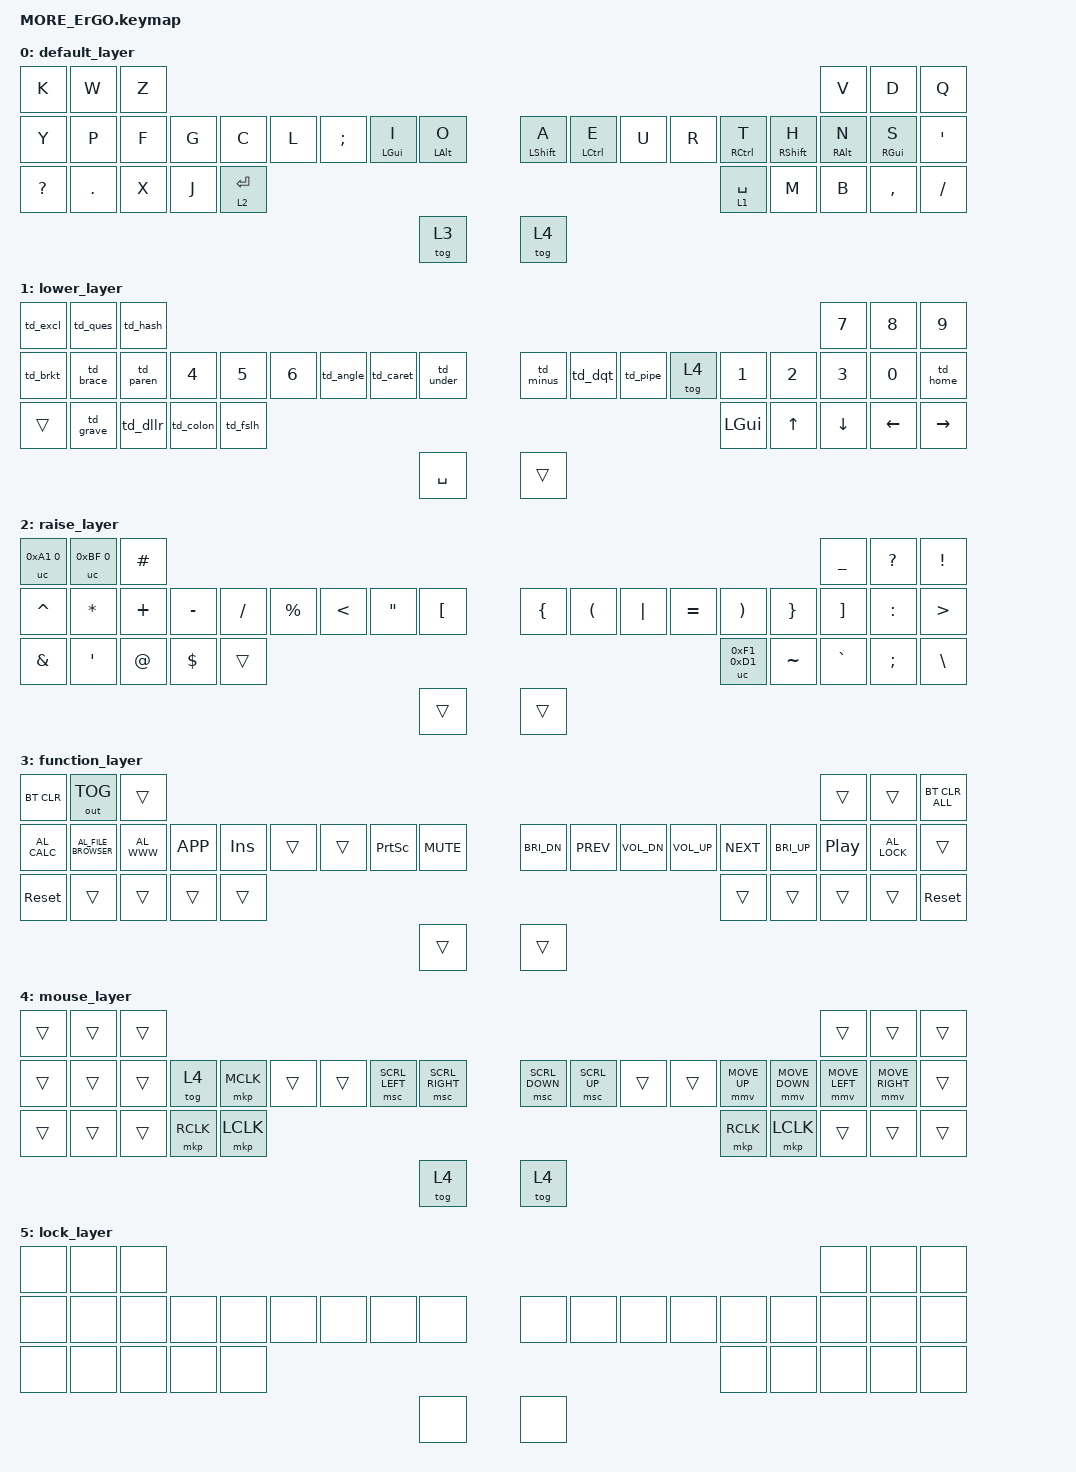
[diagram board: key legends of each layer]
/*
 * Copyright (c) 2020 The ZMK Contributors
 * SPDX-License-Identifier: MIT
 */
#define ZMK_POINTING_DEFAULT_MOVE_VAL 900   // velocidad máxima del cursor (default ZMK: 600)
#define ZMK_POINTING_DEFAULT_SCRL_VAL 160   // con smooth scrolling: 16 unidades = 1 clic de rueda por segundo (160 ≈ 10 clics/s)
#define ZMK_UNICODE_TAP_MS 300
#define LOCK_LAYER 5

#include <behaviors.dtsi>
#include <dt-bindings/zmk/keys.h>
#include <dt-bindings/zmk/bt.h>
#include <dt-bindings/zmk/outputs.h>
#include <dt-bindings/zmk/pointing.h>
#include <behaviors/unicode.dtsi>

&uc {
  default-mode = <UC_MODE_LINUX>;  // Default to Linux input system
  minimum-length = <0>;            // Set to desired minimum input length
  linux-key = <LC(LS(U))>;         // Overwrite Linux compose key
  win-compose-key = <RALT>;        // Overwrite WinCompose compose key
};

// Aceleración: arranca lento y llega a la velocidad máxima en 600 ms
&mmv {
    time-to-max-speed-ms = <600>;
    acceleration-exponent = <1>;
};

&msc {
    time-to-max-speed-ms = <300>;   // llega antes a su velocidad máxima
    acceleration-exponent = <1>;    // arranca suave y acelera de forma lineal
};

/ {
    
    combos {
        compatible = "zmk,combos";
        combo_backs   { timeout-ms = <40>; require-prior-idle-ms = <150>; key-positions = <19 21>; bindings = <&kp BSPC>; };
        combo_esc     { timeout-ms = <40>; require-prior-idle-ms = <150>; key-positions = <14 16>; bindings = <&kp ESC>; };
        combo_capslock { timeout-ms = <40>; require-prior-idle-ms = <150>; key-positions = <13 14>; bindings = <&kp CAPS>; };
        combo_tab     { timeout-ms = <40>; require-prior-idle-ms = <150>; key-positions = <15 16>; bindings = <&kp TAB>; };
        combo_caps_w  { timeout-ms = <40>; require-prior-idle-ms = <150>; key-positions = <12 13>; bindings = <&caps_word>; };
        combo_lclick  { timeout-ms = <40>; require-prior-idle-ms = <150>; key-positions = <16 28>; bindings = <&mkp LCLK>;};
        combo_rclick  { timeout-ms = <40>; require-prior-idle-ms = <150>; key-positions = <19 29>; bindings = <&mkp RCLK>;};

        // ENTER + tecla-número (misma posición física que usan en lower_layer) = saltar directo a ese perfil bluetooth
        combo_bt1 { timeout-ms = <40>; require-prior-idle-ms = <150>; key-positions = <28 19>; bindings = <&bt BT_SEL 0>; };
        combo_bt2 { timeout-ms = <40>; require-prior-idle-ms = <150>; key-positions = <28 20>; bindings = <&bt BT_SEL 1>; };
        combo_bt3 { timeout-ms = <40>; require-prior-idle-ms = <150>; key-positions = <28 21>; bindings = <&bt BT_SEL 2>; };
        combo_bt4 { timeout-ms = <40>; require-prior-idle-ms = <150>; key-positions = <28 9>;  bindings = <&bt BT_SEL 3>; };
        combo_bt5 { timeout-ms = <40>; require-prior-idle-ms = <150>; key-positions = <28 10>; bindings = <&bt BT_SEL 4>; };

        combo_del      { timeout-ms = <40>; require-prior-idle-ms = <150>; key-positions = <29 21>; bindings = <&kp DEL>; };
        combo_enter_r  { timeout-ms = <40>; require-prior-idle-ms = <150>; key-positions = <21 22>; bindings = <&kp RET>; };

        // Ratón por combo: mantener presionado = scroll/movimiento continuo. Mano izquierda baja, mano derecha sube.
        // timeout 60 ms: más margen para presionar las dos teclas "a la vez"; idle 100 ms: se puede usar justo después de escribir.
        combo_scrl_down  { timeout-ms = <60>; require-prior-idle-ms = <100>; key-positions = <15 28>; bindings = <&msc SCRL_DOWN>; };
        combo_scrl_up    { timeout-ms = <60>; require-prior-idle-ms = <100>; key-positions = <20 29>; bindings = <&msc SCRL_UP>; };
        combo_scrl_left  { timeout-ms = <60>; require-prior-idle-ms = <100>; key-positions = <13 28>; bindings = <&msc SCRL_LEFT>; };
        combo_scrl_right { timeout-ms = <60>; require-prior-idle-ms = <100>; key-positions = <29 22>; bindings = <&msc SCRL_RIGHT>; };
        combo_mv_down    { timeout-ms = <60>; require-prior-idle-ms = <100>; key-positions = <28 7>;  bindings = <&mmv MOVE_DOWN>; };
        combo_mv_left    { timeout-ms = <60>; require-prior-idle-ms = <100>; key-positions = <28 6>;  bindings = <&mmv MOVE_LEFT>; };
        combo_mv_up      { timeout-ms = <60>; require-prior-idle-ms = <100>; key-positions = <29 10>; bindings = <&mmv MOVE_UP>; };
        combo_mv_right   { timeout-ms = <60>; require-prior-idle-ms = <100>; key-positions = <29 11>; bindings = <&mmv MOVE_RIGHT>; };

        combo_lock   { timeout-ms = <40>; require-prior-idle-ms = <150>; key-positions = <1 16 28>; bindings = <&tog LOCK_LAYER>; };
        combo_lock_lt   { timeout-ms = <40>; require-prior-idle-ms = <150>; key-positions = <4 19 29>; bindings = <&tog LOCK_LAYER>; };

        combo_bootloader_left {
            timeout-ms = <50>;
            key-positions = <12 24 8>;
            bindings = <&bootloader>;
            require-prior-idle-ms = <200>;
        };
        combo_bootloader_right {
            timeout-ms = <50>;
            key-positions = <23 33 9>;
            bindings = <&bootloader>;
            require-prior-idle-ms = <200>;
        };

        // Apagar (soft off): P+E+J en la izquierda, o su espejo C+T+M en la derecha.
        // No incluyen ENTER ni SPACE (las teclas que encienden) ni ningún otro combo.
        combo_off_left  { timeout-ms = <50>; require-prior-idle-ms = <250>; key-positions = <7 16 27>;  bindings = <&soft_off>; };
        combo_off_right { timeout-ms = <50>; require-prior-idle-ms = <250>; key-positions = <10 19 30>; bindings = <&soft_off>; };
    };

    behaviors {
        hml: home_row_mod_left {
            compatible = "zmk,behavior-hold-tap";
            #binding-cells = <2>;
            flavor = "balanced";
            require-prior-idle-ms = <150>;
            tapping-term-ms = <280>;
            quick-tap-ms = <175>;
            bindings = <&kp>, <&kp>;
            hold-trigger-key-positions = < 3 4 5 9 10 11 18 19 20 21 22 23 29 30 31 >;
            hold-trigger-on-release;
        };
        hmr: home_row_mod_right {
            compatible = "zmk,behavior-hold-tap";
            #binding-cells = <2>;
            flavor = "balanced";
            require-prior-idle-ms = <150>;
            tapping-term-ms = <280>;
            quick-tap-ms = <175>;
            bindings = <&kp>, <&kp>;
            hold-trigger-key-positions = < 0 1 2 6 7 8 12 13 14 15 16 17 24 25 26 27 28 >;
            hold-trigger-on-release;
        };

        // Pulgar izquierdo: hold=raise(2), tap=Space
        lth: layer_tap {
            compatible = "zmk,behavior-hold-tap";
            #binding-cells = <2>;
            flavor = "balanced";
            tapping-term-ms = <350>;
            quick-tap-ms = <175>;
            bindings = <&mo>, <&kp>;
        };

        // Un tap = abre y auto-cierra (cursor queda en medio). Doble tap = solo el símbolo de cierre (lado derecho del raise_layer).
        td_paren: tap_dance_paren {
            compatible = "zmk,behavior-tap-dance";
            #binding-cells = <0>;
            tapping-term-ms = <250>;
            bindings = <&mo_paren_open>, <&kp RPAR>;
        };

        td_brkt: tap_dance_brkt {
            compatible = "zmk,behavior-tap-dance";
            #binding-cells = <0>;
            tapping-term-ms = <250>;
            bindings = <&mo_brkt_open>, <&kp RBKT>;
        };

        td_brace: tap_dance_brace {
            compatible = "zmk,behavior-tap-dance";
            #binding-cells = <0>;
            tapping-term-ms = <250>;
            bindings = <&mo_brace_open>, <&kp RBRC>;
        };

        td_angle: tap_dance_angle {
            compatible = "zmk,behavior-tap-dance";
            #binding-cells = <0>;
            tapping-term-ms = <250>;
            bindings = <&mo_angle_open>, <&kp GT>;
        };

        td_excl: tap_dance_excl {
            compatible = "zmk,behavior-tap-dance";
            #binding-cells = <0>;
            tapping-term-ms = <250>;
            bindings = <&mo_excl_open>, <&kp EXCL>;
        };

        td_ques: tap_dance_ques {
            compatible = "zmk,behavior-tap-dance";
            #binding-cells = <0>;
            tapping-term-ms = <250>;
            bindings = <&mo_ques_open>, <&kp QMARK>;
        };

        // Sin opuesto real: un tap = símbolo izquierdo tal cual. Doble tap = símbolo espejado del lado derecho del raise_layer.
        td_hash: tap_dance_hash {
            compatible = "zmk,behavior-tap-dance";
            #binding-cells = <0>;
            tapping-term-ms = <250>;
            bindings = <&kp HASH>, <&kp ASTRK>;
        };

        td_caret: tap_dance_caret {
            compatible = "zmk,behavior-tap-dance";
            #binding-cells = <0>;
            tapping-term-ms = <250>;
            bindings = <&kp CARET>, <&kp PRCNT>;
        };

        td_under: tap_dance_under {
            compatible = "zmk,behavior-tap-dance";
            #binding-cells = <0>;
            tapping-term-ms = <250>;
            bindings = <&kp UNDER>, <&kp EQUAL>;
        };

        td_minus: tap_dance_minus {
            compatible = "zmk,behavior-tap-dance";
            #binding-cells = <0>;
            tapping-term-ms = <250>;
            bindings = <&kp MINUS>, <&kp PLUS>;
        };

        td_dqt: tap_dance_dqt {
            compatible = "zmk,behavior-tap-dance";
            #binding-cells = <0>;
            tapping-term-ms = <250>;
            bindings = <&kp DQT>, <&kp SQT>;
        };

        td_pipe: tap_dance_pipe {
            compatible = "zmk,behavior-tap-dance";
            #binding-cells = <0>;
            tapping-term-ms = <250>;
            bindings = <&kp PIPE>, <&kp AMPS>;
        };

        td_grave: tap_dance_grave {
            compatible = "zmk,behavior-tap-dance";
            #binding-cells = <0>;
            tapping-term-ms = <250>;
            bindings = <&kp GRAVE>, <&kp AT>;
        };

        td_dllr: tap_dance_dllr {
            compatible = "zmk,behavior-tap-dance";
            #binding-cells = <0>;
            tapping-term-ms = <250>;
            bindings = <&kp DLLR>, <&kp TILDE>;
        };

        td_colon: tap_dance_colon {
            compatible = "zmk,behavior-tap-dance";
            #binding-cells = <0>;
            tapping-term-ms = <250>;
            bindings = <&kp COLON>, <&kp SEMI>;
        };

        td_fslh: tap_dance_fslh {
            compatible = "zmk,behavior-tap-dance";
            #binding-cells = <0>;
            tapping-term-ms = <250>;
            bindings = <&kp FSLH>, <&kp BSLH>;
        };
        td_home: tap_dance_home {
            compatible = "zmk,behavior-tap-dance";
            #binding-cells = <0>;
            tapping-term-ms = <250>;
            bindings = <&kp HOME>, <&kp END>;
        };
    };

    macros {
        // Cada uno escribe el símbolo izquierdo del raise_layer + su opuesto, y deja el cursor en medio.
        mo_paren_open: mo_paren_open {
            compatible = "zmk,behavior-macro";
            #binding-cells = <0>;
            bindings = <&kp LPAR &kp RPAR &kp LEFT>;
        };
        mo_brkt_open: mo_brkt_open {
            compatible = "zmk,behavior-macro";
            #binding-cells = <0>;
            bindings = <&kp LBKT &kp RBKT &kp LEFT>;
        };
        mo_brace_open: mo_brace_open {
            compatible = "zmk,behavior-macro";
            #binding-cells = <0>;
            bindings = <&kp LBRC &kp RBRC &kp LEFT>;
        };
        mo_angle_open: mo_angle_open {
            compatible = "zmk,behavior-macro";
            #binding-cells = <0>;
            bindings = <&kp LT &kp GT &kp LEFT>;
        };
        mo_excl_open: mo_excl_open {
            compatible = "zmk,behavior-macro";
            #binding-cells = <0>;
            bindings = <&uc 0xA1 0 &kp EXCL &kp LEFT>;
        };
        mo_ques_open: mo_ques_open {
            compatible = "zmk,behavior-macro";
            #binding-cells = <0>;
            bindings = <&uc 0xBF 0 &kp QMARK &kp LEFT>;
        };
    };

    keymap {
        compatible = "zmk,keymap";

        default_layer {
        /*
         *  K0    W1    V2                         Z3    D4     Q5
         *  Y6    P7    F8                         G9    C10    L11
         *  ;12   I13   O14  A15 E16 U17       R18 T19   H20    N21  S22 '23
         *  ?24   .25   X26  J27 RET28         SPC29  M30 B31        ,32  /33
         *              toggle=FUNCTION34     toggle=MOUSE35
         */
                    bindings = <
          &kp K      &kp W        &kp Z                                          &kp V         &kp D                      &kp Q
              &kp Y  &kp P        &kp F                                          &kp G         &kp C         &kp L       &kp SEMI  &hml LGUI I  &hml LALT O &hml LSHFT A &hml LCTRL E   &kp U   &kp R  &hmr RCTRL T  &hmr RSHFT H  &hmr RALT N  &hmr RGUI S  &kp SQT
          &kp QMARK &kp DOT        &kp X  &kp J &lth 2 RET               &lth 1 SPACE &kp M &kp B         &kp COMMA         &kp FSLH
                                               &tog 3                &tog 4
                    >;
                };

        lower_layer {
             /*  Izquierda = símbolos del raise_layer (tap=izq [autocierra si tiene par], doble tap=espejo derecho del raise_layer) | Derecha = números + nav  */
             /*
              *  ¡0»!    ¿1»?    #2»*                        7_3    8_4     9_5
              *  [6»]    {7»}    (8»)                        4_9    5_10    6_11
              *  <12»>  ^13»%  _14»=  -15»+  "16»'  |17»&   MOUSE18 1_19  2_20   3_21  0_22  HOME23»END
              *  ___24   `25»@   $26»~   :27»;   /28»\    GUI29 UP30 DOWN31 LEFT32 RIGHT33
              *                    SPC34                    ___35
              */
                    bindings = <
          &td_excl   &td_ques   &td_hash                                     &kp N7 &kp N8 &kp N9
               &td_brkt   &td_brace  &td_paren                                  &kp N4 &kp N5 &kp N6
&td_angle &td_caret &td_under &td_minus &td_dqt &td_pipe  &tog 4 &kp N1 &kp N2 &kp N3 &kp N0 &td_home
                 &trans &td_grave &td_dllr &td_colon &td_fslh      &kp LGUI     &kp UP &kp DOWN &kp LEFT &kp RIGHT
                                             &kp SPACE          &trans
                    >;
                };

        raise_layer {
        /*  Símbolos  */
        /*
         *        ¡0     ¿1   #2                             _3   ?4    !5
         *        ^6     *7   +8                            -9   /10   %11
         *  <12   "13  [14 {15 (16 |17             =18  )19 }20  ]21   :22  ñ23
         *  &24 '25          @26 $27  __28   __29 ~30 `31            ;32  \33
         *                              ___34  ___35
         */
            bindings = <
            &uc 0xA1 0    &uc 0xBF 0     &kp HASH                                           &kp UNDER  &kp QMARK &kp EXCL
            &kp CARET  &kp ASTRK  &kp PLUS                                                  &kp MINUS  &kp FSLH &kp PRCNT
      &kp LT &kp DQT &kp LBKT &kp LBRC &kp LPAR &kp PIPE                &kp EQUAL  &kp RPAR &kp RBRC &kp RBKT &kp COLON &kp GT
      &kp AMPS &kp SQT                   &kp AT   &kp DLLR &trans   &uc 0xF1 0xD1 &kp TILDE &kp GRAVE         &kp SEMI  &kp BSLH
                                                         &trans   &trans
            >;
        };

        function_layer {
            /*  Fila 1 = bluetooth/output (perfiles van por combo ENTER+número) | Fila 2 = lanzar apps | Home row = lo más común | Fila 4 = reset en las esquinas  */
            /*
             *  BT_CLR0  OUT_TOG1  ___2                       ___3     ___4     BT_CLR_ALL5
             *  CALC6    FILES7    WWW8                       K_APP9   INS10    ___11
             *  ___12  PSCRN13  MUTE14  BRI_DN15  PREV16  VOL_DN17  VOL_UP18  NEXT19  BRI_UP20  PLAY21  LOCK22  ___23
             *  RESET24  ___25    ___26  ___27  ___28    ___29 ___30 ___31    ___32   RESET33
             *                        ___34                   ___35
             */
            bindings = < 
          &bt BT_CLR   &out OUT_TOG   &trans                                    &trans  &trans  &bt BT_CLR_ALL
                &kp C_AL_CALC   &kp C_AL_FILE_BROWSER  &kp C_AL_WWW                                     &kp K_APP  &kp INS   &trans
          &trans &kp PSCRN &kp C_MUTE &kp C_BRI_DN &kp C_PREV &kp C_VOL_DN          &kp C_VOL_UP &kp C_NEXT &kp C_BRI_UP &kp C_PP &kp C_AL_LOCK &trans
          &sys_reset &trans &trans &trans &trans                &trans &trans &trans &trans &sys_reset
                                      &trans                    &trans
            >;
        };

        mouse_layer {
            /*  Raton: ambas manos mueven cursor (espejado), pulgares = clics  */
            /*
             *  ___0    ___1        ___2                              ___3     ___4     ___5
             *  ___6    ___7        ___8                              tog4_9   MCLK10   ___11
             *  ___12   SCL_L13  SCL_R14  SCL_D15 SCL_U16 ___17   ___18 MV_U19  MV_D20  MV_L21  MV_R22 ___23
             *  ___24   ___25       ___26   LCLK27  ___28      ___29 RCLK30 ___31  ___32   ___33
             *                          tog4_34            tog4_35
             */
            bindings = <
         &trans         &trans         &trans                                       &trans         &trans       &trans
         &trans         &trans         &trans                                       &tog 4         &mkp MCLK    &trans
  &trans &msc SCRL_LEFT &msc SCRL_RIGHT &msc SCRL_DOWN &msc SCRL_UP &trans   &trans &mmv MOVE_UP &mmv MOVE_DOWN &mmv MOVE_LEFT &mmv MOVE_RIGHT &trans
  &trans &trans                      &trans         &mkp RCLK &mkp LCLK  &mkp RCLK &mkp LCLK   &trans &trans &trans
                                                              &tog 4   &tog 4
            >;
        };

        lock_layer {
            bindings = < 
              &none &none &none &none &none &none &none &none &none &none 
              &none &none &none &none &none &none &none &none &none &none 
              &none &none &none &none &none &none &none &none &none &none 
              &none &none &none &none &none &none 
           >;
        };
    };
};
